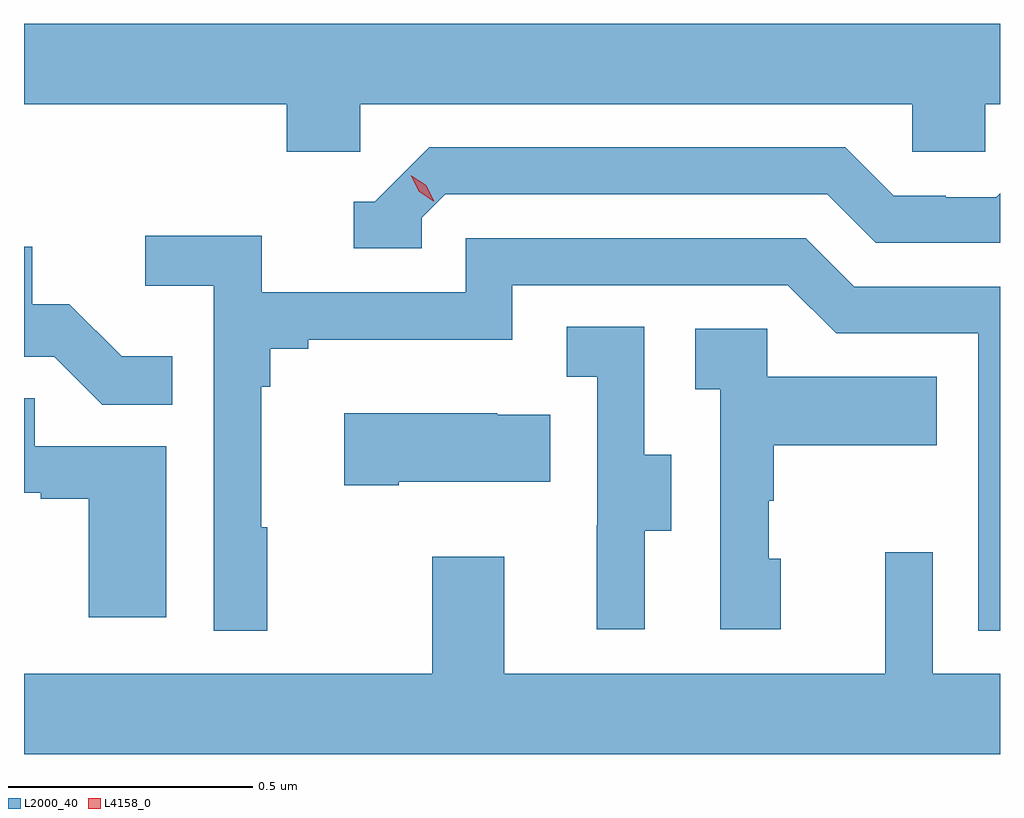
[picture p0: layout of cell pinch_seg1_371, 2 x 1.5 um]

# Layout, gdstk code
import gdstk
lib = gdstk.Library(unit=1e-6, precision=1e-09)
def P(c, l, *ps):  # polygons
    for p in ps: c.add(gdstk.Polygon(p, *l))
L2000_40 = (2000, 40)
L4158_0 = (4158, 0)

pinch_seg1_371 = lib.new_cell('pinch_seg1_371')
P(pinch_seg1_371, L2000_40, [(952.224,538.412),(953.355,538.412),(953.355,538.314),(953.505,538.314),(953.505,538.412),(953.535,538.412),(953.535,538.576),(951.535,538.576),(951.535,538.412),(952.073,538.412),(952.073,538.314),(952.224,538.314)],
  [(952.35,538.179),(952.398,538.227),(953.181,538.227),(953.28,538.128),(953.535,538.128),(953.535,538.229),(953.527,538.221),(953.424,538.221),(953.424,538.224),(953.317,538.224),(953.218,538.323),(952.365,538.323),(952.254,538.212),(952.211,538.212),(952.211,538.116),(952.35,538.116)],
  [(952.033,537.545),(952.021,537.545),(952.021,537.833),(952.04,537.833),(952.04,537.91),(952.117,537.91),(952.117,537.929),(952.536,537.929),(952.536,538.041),(953.1,538.041),(953.199,537.942),(953.49,537.942),(953.49,537.333),(953.535,537.333),(953.535,538.038),(953.236,538.038),(953.137,538.137),(952.44,538.137),(952.44,538.026),(952.022,538.026),(952.022,538.142),(951.783,538.142),(951.783,538.04),(951.924,538.04),(951.924,537.333),(952.033,537.333)],
  [(951.839,537.895),(951.735,537.895),(951.628,538.002),(951.552,538.002),(951.552,538.119),(951.535,538.119),(951.535,537.894),(951.597,537.894),(951.695,537.796),(951.839,537.796)],
  [(952.807,537.538),(952.861,537.538),(952.861,537.693),(952.806,537.693),(952.806,537.956),(952.647,537.956),(952.647,537.853),(952.71,537.853),(952.71,537.549),(952.709,537.549),(952.709,537.336),(952.807,537.336)],
  [(953.086,537.48),(953.061,537.48),(953.061,537.599),(953.071,537.599),(953.071,537.713),(953.405,537.713),(953.405,537.853),(953.058,537.853),(953.058,537.951),(952.911,537.951),(952.911,537.827),(952.962,537.827),(952.962,537.336),(953.086,537.336)],
  [(951.826,537.711),(951.557,537.711),(951.557,537.809),(951.535,537.809),(951.535,537.615),(951.569,537.615),(951.569,537.603),(951.668,537.603),(951.668,537.36),(951.826,537.36)],
  [(952.303,537.638),(952.613,537.638),(952.613,537.775),(952.505,537.775),(952.505,537.778),(952.191,537.778),(952.191,537.631),(952.303,537.631)],
  [(953.535,537.244),(953.397,537.244),(953.397,537.493),(953.3,537.493),(953.3,537.244),(952.519,537.244),(952.519,537.484),(952.372,537.484),(952.372,537.244),(951.535,537.244),(951.535,537.08),(953.535,537.08)])
P(pinch_seg1_371, L4158_0, [(952.374,538.213),(952.344,538.233),(952.328,538.266),(952.328,538.266),(952.328,538.266),(952.359,538.246),(952.375,538.214),(952.375,538.213)])

lib.write_gds('pinch_seg1_371.gds')
